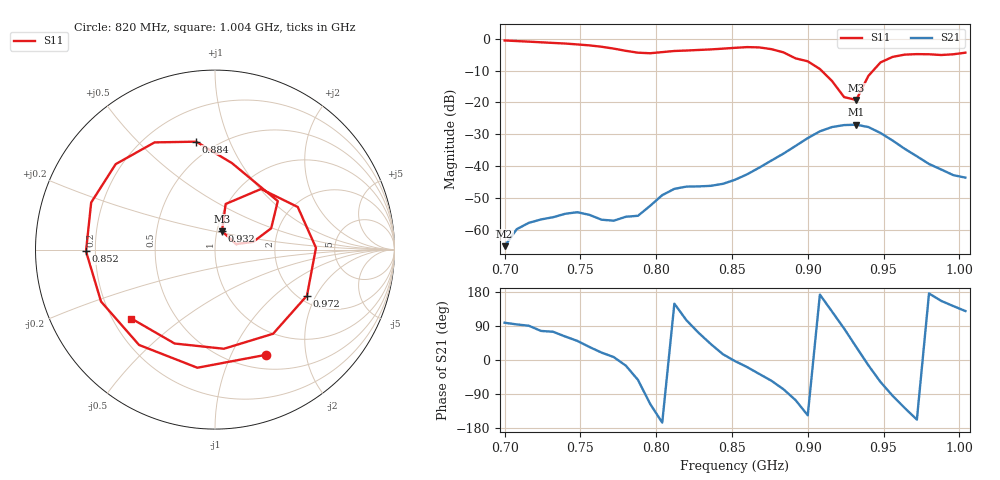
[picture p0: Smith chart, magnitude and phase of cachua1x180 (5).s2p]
# Hz S RI R 50
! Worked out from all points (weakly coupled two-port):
!   39 points, 700 MHz to 1.004 GHz, reference 50 ohm
!   highest |S21| = -26.97 dB at 932 MHz (marker M1); lowest = -65.1 dB at 700 MHz (marker M2)
!   lowest |S11| = -19.2 dB at 932 MHz (marker M3), VSWR 1.25, Z = 52.9 + j11 ohm
!   |S11| at or under -10 dB: 909.1 MHz to 943.2 MHz (34.11 MHz wide, 3.68 % of centre)
!   S12 and S22 are empty: the file has one direction only
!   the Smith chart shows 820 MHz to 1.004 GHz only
!   S11 on the Smith chart (normalised r, x): 820 MHz: 0.67, -1.38; 852 MHz: 0.16, -0.01; 884 MHz: 0.40, +0.76; 932 MHz: 1.06, +0.22; 972 MHz: 2.21, -1.69; 1.004 GHz: 0.28, -0.33
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7e8  0.7604 0.5496  -8.1e-05 0.000552  0 0  0 0
7.24e8  0.842 -0.2478  0.000337 0.00143  0 0  0 0
7.4e8  0.4567 -0.7046  0.000845 0.00159  0 0  0 0
7.56e8  -0.1964 -0.7602  0.00143 0.000974  0 0  0 0
7.72e8  -0.6711 -0.1961  0.00139 0.000189  0 0  0 0
7.8e8  -0.6026 0.2303  0.00156 -0.000418  0 0  0 0
7.88e8  -0.2536 0.5472  0.00102 -0.00133  0 0  0 0
7.96e8  0.2465 0.5375  -0.00104 -0.00216  0 0  0 0
8.04e8  0.5873 0.1858  -0.00341 -0.000897  0 0  0 0
8.2e8  0.2868 -0.5856  -0.00122 0.00464  0 0  0 0
8.36e8  -0.423 -0.5313  0.00365 0.00332  0 0  0 0
8.52e8  -0.7188 -0.00927  0.00613 -0.000315  0 0  0 0
8.68e8  -0.5535 0.4761  0.00761 -0.00569  0 0  0 0
8.84e8  -0.1047 0.6013  0.00349 -0.0154  0 0  0 0
9e8  0.3499 0.2702  -0.0229 -0.0154  0 0  0 0
9.08e8  0.313 0.1187  -0.035 0.00454  0 0  0 0
9.32e8  0.039 0.1024  0.0371 0.0252  0 0  0 0
9.4e8  0.0593 0.2541  0.0399 -0.0099  0 0  0 0
9.56e8  0.4612 0.2373  -0.00199 -0.0252  0 0  0 0
9.72e8  0.5124 -0.2563  -0.0132 -0.00552  0 0  0 0
9.88e8  0.0493 -0.5525  -0.00814 0.00361  0 0  0 0
1.004e9  -0.4657 -0.3843  -0.00419 0.00513  0 0  0 0
